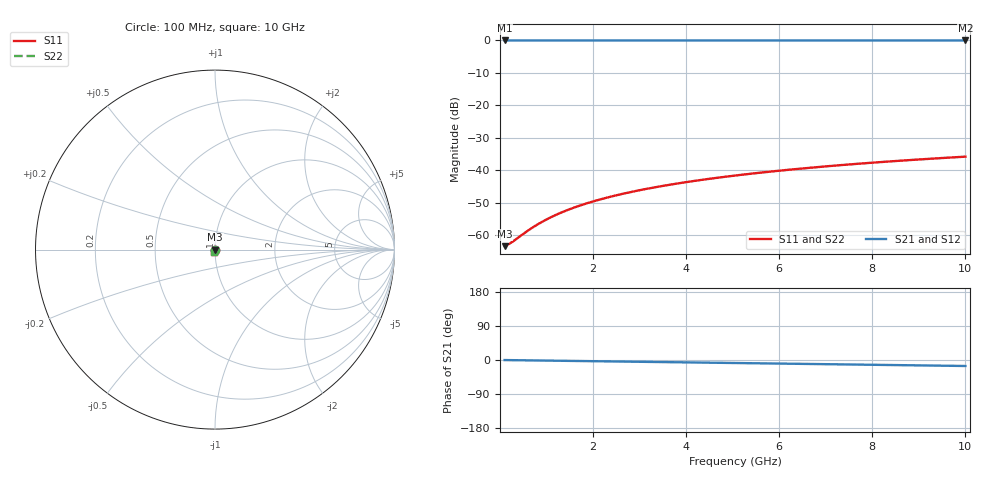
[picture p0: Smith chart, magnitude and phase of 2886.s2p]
# Hz S RI R 50.00
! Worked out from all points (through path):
!   100 points, 100 MHz to 10 GHz, reference 50 ohm
!   highest |S21| = -0.01 dB at 100 MHz (marker M1); lowest = 0.0 dB at 10 GHz (marker M2)
!   group delay of S21, straight-line fit = 4.39 ps
!   lowest |S11| = -63.3 dB at 100 MHz (marker M3), VSWR 1.00, Z = 50.1 - j0.0164 ohm
!   |S11| at or under -10 dB: start of sweep to end of sweep
!   |S22| runs from -63.3 to -35.8 dB; largest |S21 - S12| = 0
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1e8  0.000661 -0.000164  0.9993 -0.00273  0.9993 -0.00273  0.000661 -0.000164
2e8  0.000663 -0.000327  0.9993 -0.00546  0.9993 -0.00546  0.000663 -0.000327
3e8  0.000662 -0.000491  0.9993 -0.00818  0.9993 -0.00818  0.000662 -0.000491
5e8  0.000657 -0.000819  0.9992 -0.0136  0.9992 -0.0136  0.000657 -0.000819
7e8  0.000648 -0.00115  0.9991 -0.0191  0.9991 -0.0191  0.000648 -0.00115
8e8  0.000642 -0.00131  0.9991 -0.0218  0.9991 -0.0218  0.000642 -0.00131
1e9  0.000626 -0.00164  0.9989 -0.0273  0.9989 -0.0273  0.000626 -0.00164
1.2e9  0.000606 -0.00197  0.9988 -0.0327  0.9988 -0.0327  0.000606 -0.00197
1.4e9  0.000583 -0.0023  0.9986 -0.0382  0.9986 -0.0382  0.000583 -0.0023
1.6e9  0.000556 -0.00263  0.9983 -0.0437  0.9983 -0.0437  0.000556 -0.00263
1.8e9  0.000525 -0.00296  0.9981 -0.0491  0.9981 -0.0491  0.000525 -0.00296
2.1e9  0.000471 -0.00345  0.9976 -0.0573  0.9976 -0.0573  0.000471 -0.00345
2.5e9  0.000387 -0.00411  0.9969 -0.0682  0.9969 -0.0682  0.000387 -0.00411
2.9e9  0.000287 -0.00477  0.9961 -0.0792  0.9961 -0.0792  0.000287 -0.00477
3.4e9  0.000143 -0.0056  0.9949 -0.0928  0.9949 -0.0928  0.000143 -0.0056
4.2e9  -0.000137 -0.00691  0.9926 -0.1147  0.9926 -0.1147  -0.000137 -0.00691
5.1e9  -0.000521 -0.00838  0.9894 -0.1392  0.9894 -0.1392  -0.000521 -0.00838
5.9e9  -0.000924 -0.00967  0.9861 -0.1611  0.9861 -0.1611  -0.000924 -0.00967
6.7e9  -0.00138 -0.0109  0.9822 -0.1828  0.9822 -0.1828  -0.00138 -0.0109
7.5e9  -0.0019 -0.0122  0.9779 -0.2046  0.9779 -0.2046  -0.0019 -0.0122
8.4e9  -0.00254 -0.0135  0.9724 -0.229  0.9724 -0.229  -0.00254 -0.0135
1e10  -0.00383 -0.0158  0.9612 -0.2722  0.9612 -0.2722  -0.00383 -0.0158
